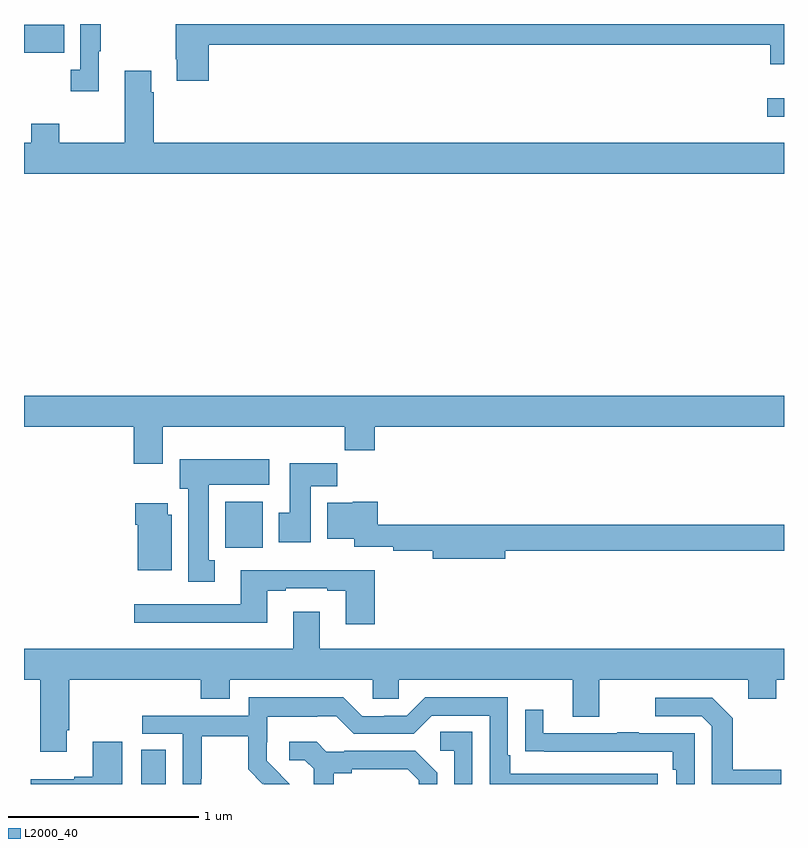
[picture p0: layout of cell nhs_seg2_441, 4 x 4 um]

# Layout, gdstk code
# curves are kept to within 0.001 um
import gdstk
lib = gdstk.Library(unit=1e-6, precision=1e-09)
def R(c, l, rs):  # rectangles x0, y0, x1, y1
    for r in rs: c.add(gdstk.rectangle(r[:2], r[2:], *l))
def P(c, l, *ps):  # polygons
    for p in ps: c.add(gdstk.Polygon(p, *l))
L2000_40 = (2000, 40)

nhs_seg2_441 = lib.new_cell('nhs_seg2_441')
R(nhs_seg2_441, L2000_40, [(133.616,601.8,133.747,601.979), (134.06,603.044,134.257,603.286), (136.911,605.312,137,605.409), (133,605.65,133.211,605.797)])
P(nhs_seg2_441, L2000_40, [(133.393,605.657),(133.405,605.657),(133.405,605.8),(133.296,605.8),(133.296,605.558),(133.245,605.558),(133.245,605.445),(133.393,605.445)],
  [(133.973,605.692),(136.928,605.692),(136.928,605.588),(137,605.588),(137,605.8),(133.798,605.8),(133.798,605.614),(133.805,605.614),(133.805,605.502),(133.973,605.502)],
  [(133.037,605.275),(133.037,605.176),(133,605.176),(133,605.012),(137,605.012),(137,605.176),(133.682,605.176),(133.682,605.441),(133.669,605.441),(133.669,605.554),(133.529,605.554),(133.529,605.176),(133.185,605.176),(133.185,605.275)],
  [(133.729,603.68),(134.689,603.68),(134.689,603.556),(134.846,603.556),(134.846,603.68),(137,603.68),(137,603.844),(133,603.844),(133,603.68),(133.577,603.68),(133.577,603.486),(133.729,603.486)],
  [(134.005,602.978),(133.972,602.978),(133.972,603.374),(134.29,603.374),(134.29,603.508),(133.82,603.508),(133.82,603.354),(133.865,603.354),(133.865,602.865),(134.005,602.865)],
  [(134.509,603.368),(134.648,603.368),(134.648,603.487),(134.399,603.487),(134.399,603.228),(134.342,603.228),(134.342,603.072),(134.509,603.072)],
  [(135.532,603.028),(137,603.028),(137,603.164),(134.861,603.164),(134.861,603.286),(134.73,603.286),(134.73,603.28),(134.597,603.28),(134.597,603.092),(134.738,603.092),(134.738,603.048),(134.944,603.048),(134.944,603.028),(135.152,603.028),(135.152,602.986),(135.532,602.986)],
  [(133.777,603.216),(133.756,603.216),(133.756,603.277),(133.586,603.277),(133.586,603.164),(133.598,603.164),(133.598,602.924),(133.777,602.924)],
  [(134.846,602.926),(134.141,602.926),(134.141,602.745),(133.581,602.745),(133.581,602.648),(134.281,602.648),(134.281,602.817),(134.377,602.817),(134.377,602.829),(134.597,602.829),(134.597,602.817),(134.693,602.817),(134.693,602.64),(134.846,602.64)],
  [(134.557,602.707),(134.417,602.707),(134.417,602.512),(133,602.512),(133,602.348),(133.085,602.348),(133.085,601.971),(133.225,601.971),(133.225,602.083),(133.238,602.083),(133.238,602.348),(133.931,602.348),(133.931,602.249),(134.083,602.249),(134.083,602.348),(134.835,602.348),(134.835,602.25),(134.973,602.25),(134.973,602.348),(135.887,602.348),(135.887,602.154),(136.027,602.154),(136.027,602.348),(136.811,602.348),(136.811,602.249),(136.959,602.249),(136.959,602.348),(137,602.348),(137,602.512),(134.557,602.512)],
  [(133.932,601.828),(133.935,601.828),(133.935,602.052),(134.179,602.052),(134.179,601.877),(134.256,601.8),(134.259,601.803),(134.262,601.8),(134.398,601.8),(134.278,601.922),(134.278,602.019),(134.28,602.019),(134.28,602.153),(134.543,602.153),(134.543,602.157),(134.643,602.157),(134.736,602.064),(135.051,602.064),(135.147,602.16),(135.45,602.16),(135.45,601.8),(136.336,601.8),(136.336,601.854),(135.559,601.854),(135.559,601.951),(135.546,601.951),(135.546,602.256),(135.111,602.256),(135.015,602.16),(134.897,602.16),(134.897,602.157),(134.781,602.157),(134.681,602.257),(134.184,602.257),(134.184,602.16),(133.623,602.16),(133.623,602.064),(133.836,602.064),(133.836,601.8),(133.932,601.8)],
  [(136.985,601.875),(136.729,601.875),(136.729,602.147),(136.623,602.253),(136.323,602.253),(136.323,602.157),(136.566,602.157),(136.62,602.103),(136.62,601.8),(136.985,601.8)],
  [(136.53,602.067),(136.235,602.067),(136.235,602.072),(136.123,602.072),(136.123,602.067),(135.733,602.067),(135.733,602.191),(135.637,602.191),(135.637,601.972),(135.739,601.972),(135.739,601.971),(136.414,601.971),(136.414,601.874),(136.434,601.874),(136.434,601.8),(136.53,601.8)],
  [(135.36,602.075),(135.192,602.075),(135.192,601.974),(135.264,601.974),(135.264,601.8),(135.36,601.8)],
  [(134.629,601.856),(134.725,601.856),(134.725,601.878),(135.02,601.878),(135.077,601.821),(135.077,601.8),(135.174,601.8),(135.174,601.858),(135.058,601.974),(134.686,601.974),(134.686,601.971),(134.592,601.971),(134.54,602.023),(134.397,602.023),(134.397,601.926),(134.478,601.926),(134.525,601.879),(134.525,601.8),(134.629,601.8)],
  [(133.516,602.023),(133.361,602.023),(133.361,601.838),(133.265,601.838),(133.265,601.825),(133.035,601.825),(133.035,601.8),(133.516,601.8)])

lib.write_gds('nhs_seg2_441.gds')
